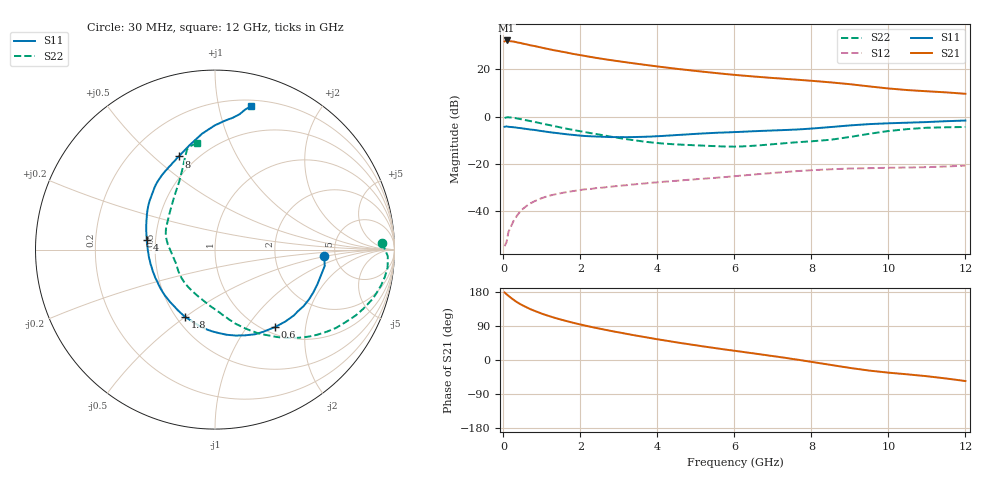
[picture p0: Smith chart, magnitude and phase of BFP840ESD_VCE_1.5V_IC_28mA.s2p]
! Infineon Technologies  Discrete & RF Semiconductors
! BFP840ESD
! VCE =  1.5 V,  IC =  28 mA
! Common Emitter S-Parameters:  May 2012
# GHz  S  MA  R  50
!  f  S11  S21  S12  S22
! GHz  MAG  ANG  MAG  ANG  MAG  ANG  MAG  ANG
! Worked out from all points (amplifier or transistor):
!   93 points, 30 MHz to 12 GHz, reference 50 ohm
!   highest |S21| = 32.2 dB at 80 MHz (marker M1)
!   |S21| within 3 dB of that: start of sweep to 982.5 MHz
!   unconditionally stable (mu >= 1): 4.2 GHz to 8.124 GHz
!   at 1.1 GHz: K = 0.46, MSG = 31.4 dB, |S12| = -34.0 dB
!   at 4.2 GHz: K = 1.00, MSG = 24.2 dB, |S12| = -27.6 dB
!   at 12 GHz: K = 0.74, MSG = 15.2 dB, |S12| = -20.8 dB
!   S11 on the Smith chart (normalised r, x): 30 MHz: 4.06, -0.44; 600 MHz: 1.11, -1.37; 1.8 GHz: 0.55, -0.50; 4 GHz: 0.45, +0.05; 8 GHz: 0.40, +0.61; 12 GHz: 0.25, +1.25
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0.03  0.6089 -3.2  39.09 178.1  0.0018 116.3  0.9313 2.3
0.08  0.6181 -8.4  40.94 173.6  0.0022 68.7  0.9637 -2.2
0.13  0.607 -14.0  39.69 169.4  0.0036 88.7  0.9669 -6.0
0.23  0.5977 -23.5  39.03 161.3  0.0054 78.4  0.9467 -12.1
0.33  0.5859 -32.4  37.69 154.1  0.0075 74.5  0.9208 -17.3
0.43  0.572 -40.0  36.41 147.9  0.0096 72.9  0.8886 -21.9
0.6  0.5457 -52.3  33.89 139.0  0.0128 68.4  0.8319 -29.1
0.8  0.522 -64.6  31.26 130.0  0.016 63.2  0.7728 -36.3
1.1  0.4794 -82.0  27.61 118.7  0.02 57.2  0.6849 -45.7
1.4  0.4462 -96.3  24.72 109.3  0.0231 51.9  0.6085 -53.5
1.8  0.4098 -114.2  21.34 98.5  0.0264 47.3  0.5243 -62.8
2.1  0.3888 -125.9  19.35 91.4  0.0287 45.3  0.4716 -68.8
2.4  0.3783 -137.6  17.54 84.7  0.0305 43.4  0.429 -74.5
2.9  0.368 -154.7  15.22 74.6  0.0335 41.6  0.3636 -83.8
4  0.384 172.3  11.52 54.7  0.0404 37.4  0.2756 -110.5
4.1  0.3874 169.6  11.25 53.1  0.0412 37.0  0.2708 -113.4
5.2  0.4399 148.3  8.895 35.7  0.0483 33.0  0.2421 -142.2
6.1  0.4725 137.0  7.523 23.0  0.0555 30.0  0.2325 -164.3
8  0.5569 111.3  5.728 -4.9  0.0731 16.7  0.2994 154.9
8.5  0.6 103.5  5.303 -12.9  0.0765 12.2  0.323 141.8
10.5  0.7421 82.2  3.638 -37.9  0.0834 -3.4  0.5436 107.8
12  0.8242 75.8  3.038 -55.5  0.0914 -11.1  0.6018 99.7
